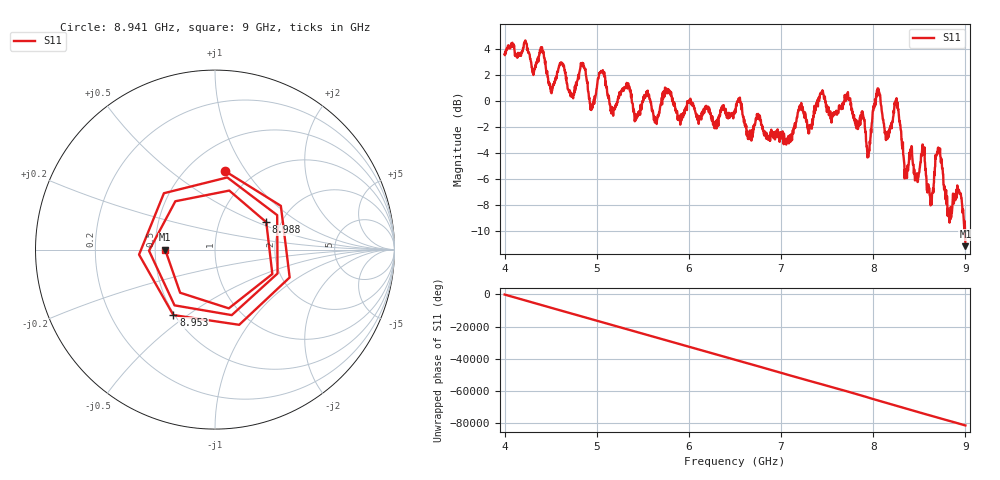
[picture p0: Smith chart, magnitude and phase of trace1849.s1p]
! Created with skrf 1.8.0 (http://scikit-rf.org).
# Hz S RI R 50.0
!freq ReS11 ImS11
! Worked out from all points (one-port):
!   1601 points, 4 GHz to 9 GHz, reference 50 ohm
!   lowest |S11| = -11.1 dB at 9 GHz (marker M1), VSWR 1.77, Z = 28.3 - j0.0326 ohm
!   |S11| at or under -10 dB: 8.996183 GHz to end of sweep
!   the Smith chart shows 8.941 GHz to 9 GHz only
!   S11 on the Smith chart (normalised r, x): 8.941 GHz: 0.74, +0.81; 8.953 GHz: 0.49, -0.44; 8.988 GHz: 1.68, +0.57; 9 GHz: 0.57, -0.00
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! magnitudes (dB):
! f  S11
! 4 GHz  3.6
! 4.403 GHz  4.2
! 4.506 GHz  1.0
! 4.625 GHz  2.8
! 4.734 GHz  0.4
! 4.853 GHz  2.9
! 4.947 GHz  -0.3
! 5.05 GHz  2.2
! 5.162 GHz  -0.4
! 5.25 GHz  0.6
! 5.875 GHz  -1.0
! 6.5 GHz  -0.6
! 7.125 GHz  -2.4
! 7.434 GHz  0.6
! 7.75 GHz  0.2
! 7.947 GHz  -4.3
! 8.05 GHz  1.0
! 8.15 GHz  -2.9
! 8.253 GHz  0.2
! 8.375 GHz  -5.2
! 8.538 GHz  -3.3
! 8.628 GHz  -7.5
! 8.706 GHz  -3.7
! 8.831 GHz  -9.0
! 8.941 GHz  -7.1
! 8.953 GHz  -7.3
! 8.988 GHz  -9.8
! 9 GHz  -11.1
